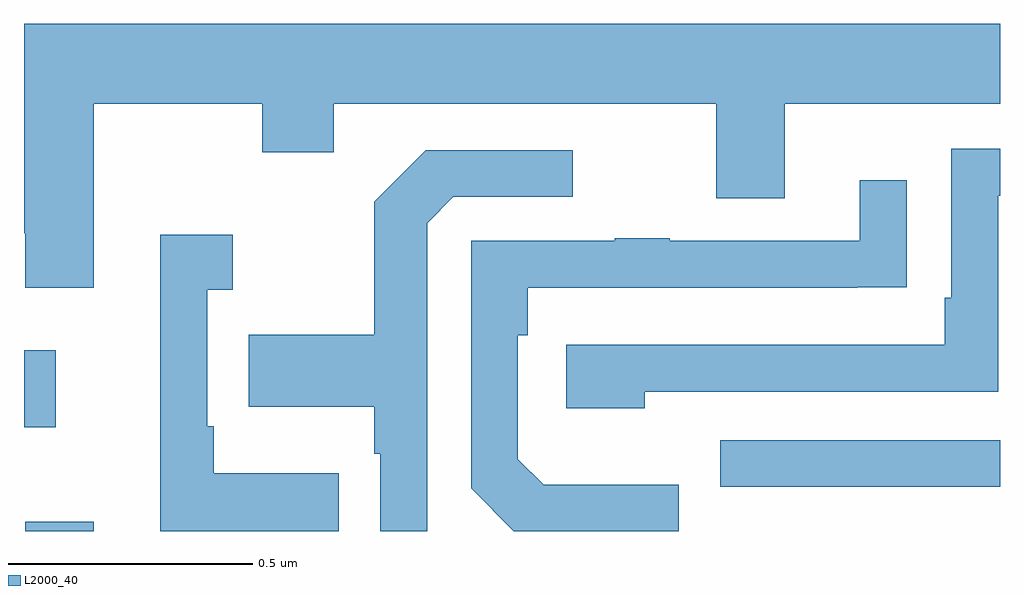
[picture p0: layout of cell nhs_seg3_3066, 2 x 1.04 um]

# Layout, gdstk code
import gdstk
lib = gdstk.Library(unit=1e-6, precision=1e-09)
def R(c, l, rs):  # rectangles x0, y0, x1, y1
    for r in rs: c.add(gdstk.rectangle(r[:2], r[2:], *l))
def P(c, l, *ps):  # polygons
    for p in ps: c.add(gdstk.Polygon(p, *l))
L2000_40 = (2000, 40)

nhs_seg3_3066 = lib.new_cell('nhs_seg3_3066')
R(nhs_seg3_3066, L2000_40, [(149.003,673.4,149.143,673.42), (150.427,673.491,151,673.587), (149,673.613,149.065,673.771)])
P(nhs_seg3_3066, L2000_40, [(149.143,674.276),(149.488,674.276),(149.488,674.177),(149.635,674.177),(149.635,674.276),(150.419,674.276),(150.419,674.082),(150.559,674.082),(150.559,674.276),(151,674.276),(151,674.44),(149,674.44),(149,674.011),(149.003,674.011),(149.003,673.899),(149.143,673.899)],
  [(150.272,673.686),(150.996,673.686),(150.996,674.088),(151,674.088),(151,674.184),(150.9,674.184),(150.9,673.879),(150.887,673.879),(150.887,673.782),(150.111,673.782),(150.111,673.652),(150.272,673.652)],
  [(149.826,674.031),(149.88,674.085),(150.124,674.085),(150.124,674.181),(149.823,674.181),(149.718,674.075),(149.718,673.803),(149.461,673.803),(149.461,673.655),(149.718,673.655),(149.718,673.559),(149.73,673.559),(149.73,673.4),(149.826,673.4)],
  [(150.342,673.495),(150.065,673.495),(150.012,673.548),(150.012,673.802),(150.032,673.802),(150.032,673.899),(150.707,673.899),(150.707,673.9),(150.809,673.9),(150.809,674.119),(150.713,674.119),(150.713,673.995),(150.323,673.995),(150.323,674),(150.211,674),(150.211,673.995),(149.916,673.995),(149.916,673.488),(150.004,673.4),(150.342,673.4)],
  [(149.645,673.519),(149.389,673.519),(149.389,673.615),(149.376,673.615),(149.376,673.895),(149.428,673.895),(149.428,674.008),(149.279,674.008),(149.279,673.4),(149.645,673.4)])

lib.write_gds('nhs_seg3_3066.gds')
